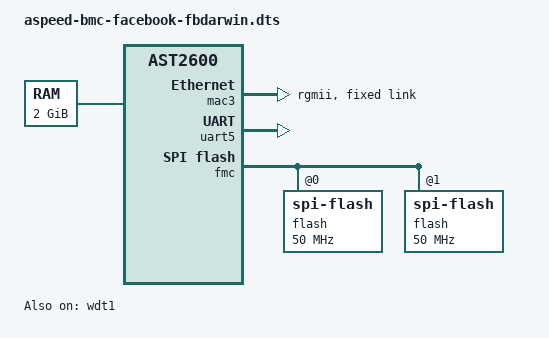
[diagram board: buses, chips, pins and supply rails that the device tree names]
// SPDX-License-Identifier: GPL-2.0+
/*
 * Copyright (c) 2022 Facebook Inc.
 */

/dts-v1/;

#include "ast2600-u-boot.dtsi"

/ {
	memory {
		device_type = "memory";
		reg = <0x80000000 0x80000000>;
	};

	chosen {
		stdout-path = &uart5;
	};

	aliases {
		spi0 = &fmc;
		ethernet3 = &mac3;
	};

	cpus {
		cpu@0 {
			clock-frequency = <800000000>;
		};
		cpu@1 {
			clock-frequency = <800000000>;
		};
	};
};

&mac3 {
	status = "okay";
	phy-mode = "rgmii";

	pinctrl-names = "default";
	pinctrl-0 = <&pinctrl_rgmii4_default>;

        fixed-link {
           speed = <1000>;
           full-duplex;
        };
};

&mac0 {
	status = "disabled";
};

&mac1 {
	status = "disabled";
};

&mac2 {
	status = "disabled";
};

&uart5 {
	u-boot,dm-pre-reloc;
	status = "okay";
};

&wdt1 {
	u-boot,dm-pre-reloc;
	status = "okay";
};

&fmc {
	status = "okay";

	flash@0 {
		status = "okay";
		compatible = "spi-flash", "sst,w25q256";
		spi-max-frequency = <50000000>;
		spi-tx-bus-width = <2>;
		spi-rx-bus-width = <2>;
	};

	flash@1 {
		status = "okay";
		compatible = "spi-flash", "sst,w25q256";
		spi-max-frequency = <50000000>;
		spi-tx-bus-width = <2>;
		spi-rx-bus-width = <2>;
	};
};

&sdrammc {
	clock-frequency = <400000000>;
};

&scu {
   mac3-clk-delay = <0x09 0x04
                     0x09 0x04
                     0x09 0x04>;
};
